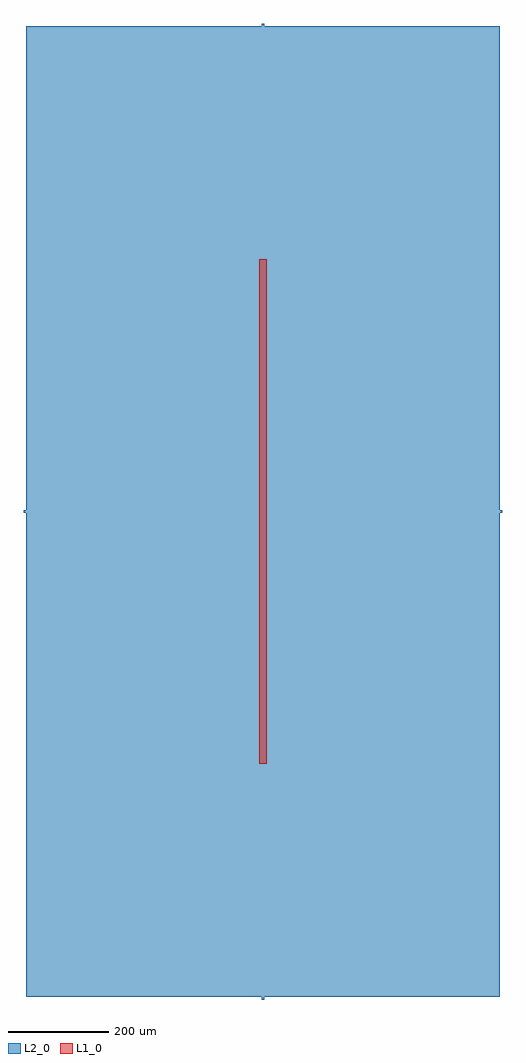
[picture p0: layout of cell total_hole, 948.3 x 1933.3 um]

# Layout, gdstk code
import gdstk
lib = gdstk.Library(unit=1e-6, precision=1e-09)
def R(c, l, rs):  # rectangles x0, y0, x1, y1
    for r in rs: c.add(gdstk.rectangle(r[:2], r[2:], *l))
L1_0 = (1, 0)
L2_0 = (2, 0)

total_hole = lib.new_cell('total_hole')
R(total_hole, L1_0, [(-7.5,-500,7.5,500)])
R(total_hole, L2_0, [(-2.5,-966.65,2.5,-961.65), (-469.15,-961.65,469.15,961.65), (-474.15,-2.5,-469.15,2.5), (469.15,-2.5,474.15,2.5), (-2.5,961.65,2.5,966.65)])

lib.write_gds('total_hole.gds')
